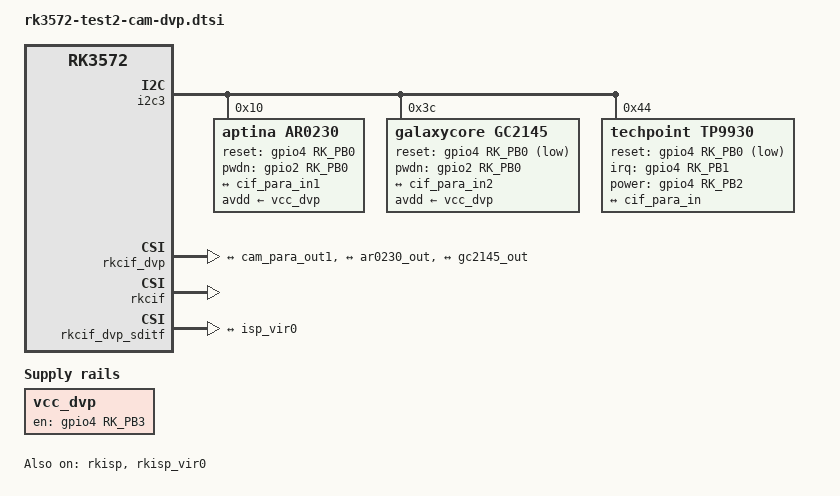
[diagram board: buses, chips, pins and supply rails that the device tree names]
// SPDX-License-Identifier: (GPL-2.0+ OR MIT)
/*
 * Copyright (c) 2026 Rockchip Electronics Co., Ltd.
 *
 */

/ {
	vcc_dvp: vcc-dvp-regulator {
		compatible = "regulator-fixed";
		gpio = <&gpio4 RK_PB3 GPIO_ACTIVE_HIGH>;
		pinctrl-names = "default";
		pinctrl-0 = <&dvp_pwr>;
		regulator-name = "vcc_dvp";
		enable-active-high;
	};
};

&i2c3 {
	status = "okay";
	pinctrl-0 = <&i2c3m0_xfer_pins>;

	ar0230: ar0230@10 {
		compatible = "aptina,ar0230";
		reg = <0x10>;
		status = "okay";
		clocks = <&cru CLK_CIFOUT_OUT>;
		clock-names = "xvclk";
		pinctrl-names = "default";
		pinctrl-0 = <&vi_cif_pins>;
		avdd-supply = <&vcc_dvp>;
		power-domains = <&power RK3572_PD_VI>;
		reset-gpios = <&gpio4 RK_PB0 GPIO_ACTIVE_HIGH>;
		pwdn-gpios = <&gpio2 RK_PB0 GPIO_ACTIVE_HIGH>;
		rockchip,camera-module-index = <0>;
		rockchip,camera-module-facing = "back";
		rockchip,camera-module-name = "CMK-OT0836-PT2";
		rockchip,camera-module-lens-name = "YT-2929";
		port {
			ar0230_out: endpoint {
				remote-endpoint = <&cif_para_in1>;
			};
		};
	};

	gc2145: gc2145@3c {
		status = "okay";
		compatible = "galaxycore,gc2145";
		reg = <0x3c>;
		clocks = <&cru CLK_CIFOUT_OUT>;
		clock-names = "xvclk";
		pinctrl-names = "default";
		pinctrl-0 = <&vi_cif_pins>;
		avdd-supply = <&vcc_dvp>;
		power-domains = <&power RK3572_PD_VI>;
		reset-gpios = <&gpio4 RK_PB0 GPIO_ACTIVE_LOW>;
		pwdn-gpios = <&gpio2 RK_PB0 GPIO_ACTIVE_HIGH>;
		rockchip,camera-module-index = <0>;
		rockchip,camera-module-facing = "back";
		rockchip,camera-module-name = "CameraKing";
		rockchip,camera-module-lens-name = "Largan";
		port {
			gc2145_out: endpoint {
				remote-endpoint = <&cif_para_in2>;
			};
		};
	};

	tp9930: tp9930@44 {
		status = "okay";
		compatible = "techpoint,tp9930";
		reg = <0x44>;
		clocks = <&cru CLK_CIFOUT_OUT>;
		clock-names = "xvclk";
		power-domains = <&power RK3572_PD_VI>;
		pinctrl-names = "default";
		pinctrl-0 = <&vi_cif_pins>;
		reset-gpios = <&gpio4 RK_PB0 GPIO_ACTIVE_LOW>;
		irq-gpios = <&gpio4 RK_PB1 GPIO_ACTIVE_HIGH>;
		power-gpios = <&gpio4 RK_PB2 GPIO_ACTIVE_HIGH>;
		rockchip,camera-module-index = <0>;
		rockchip,camera-module-facing = "back";
		rockchip,camera-module-name = "default";
		rockchip,camera-module-lens-name = "default";
		port {
			cam_para_out1: endpoint {
				remote-endpoint = <&cif_para_in>;
				bus-width = <16>;
			};
		};
	};
};

&rkcif_dvp {
	status = "okay";

	port {
		#address-cells = <1>;
		#size-cells = <0>;

		/* Parallel bus endpoint */
		cif_para_in: endpoint@1 {
			reg = <1>;
			remote-endpoint = <&cam_para_out1>;
			bus-width = <16>;
		};

		cif_para_in1: endpoint@2 {
			reg = <2>;
			remote-endpoint = <&ar0230_out>;
		};

		cif_para_in2: endpoint@3 {
			reg = <3>;
			remote-endpoint = <&gc2145_out>;
		};
	};
};

&rkcif {
	status = "okay";
};

&rkcif_mmu {
	status = "okay";
};

&rkcif_dvp_sditf {
	status = "okay";

	port {
		dvp_sditf: endpoint {
			remote-endpoint = <&isp_vir0>;
		};
	};
};

&rkisp {
	status = "okay";
};

&rkisp_mmu {
	status = "okay";
};

&rkisp_vir0 {
	status = "okay";

	port {
		#address-cells = <1>;
		#size-cells = <0>;

		isp_vir0: endpoint@0 {
			reg = <0>;
			remote-endpoint = <&dvp_sditf>;
		};
	};
};

&pinctrl {
	cam {
		dvp_pwr: dvp-pwr {
			rockchip,pins =
				/* camera power en */
				<4 RK_PB3 RK_FUNC_GPIO &pcfg_pull_none>;
		};
	};
};

